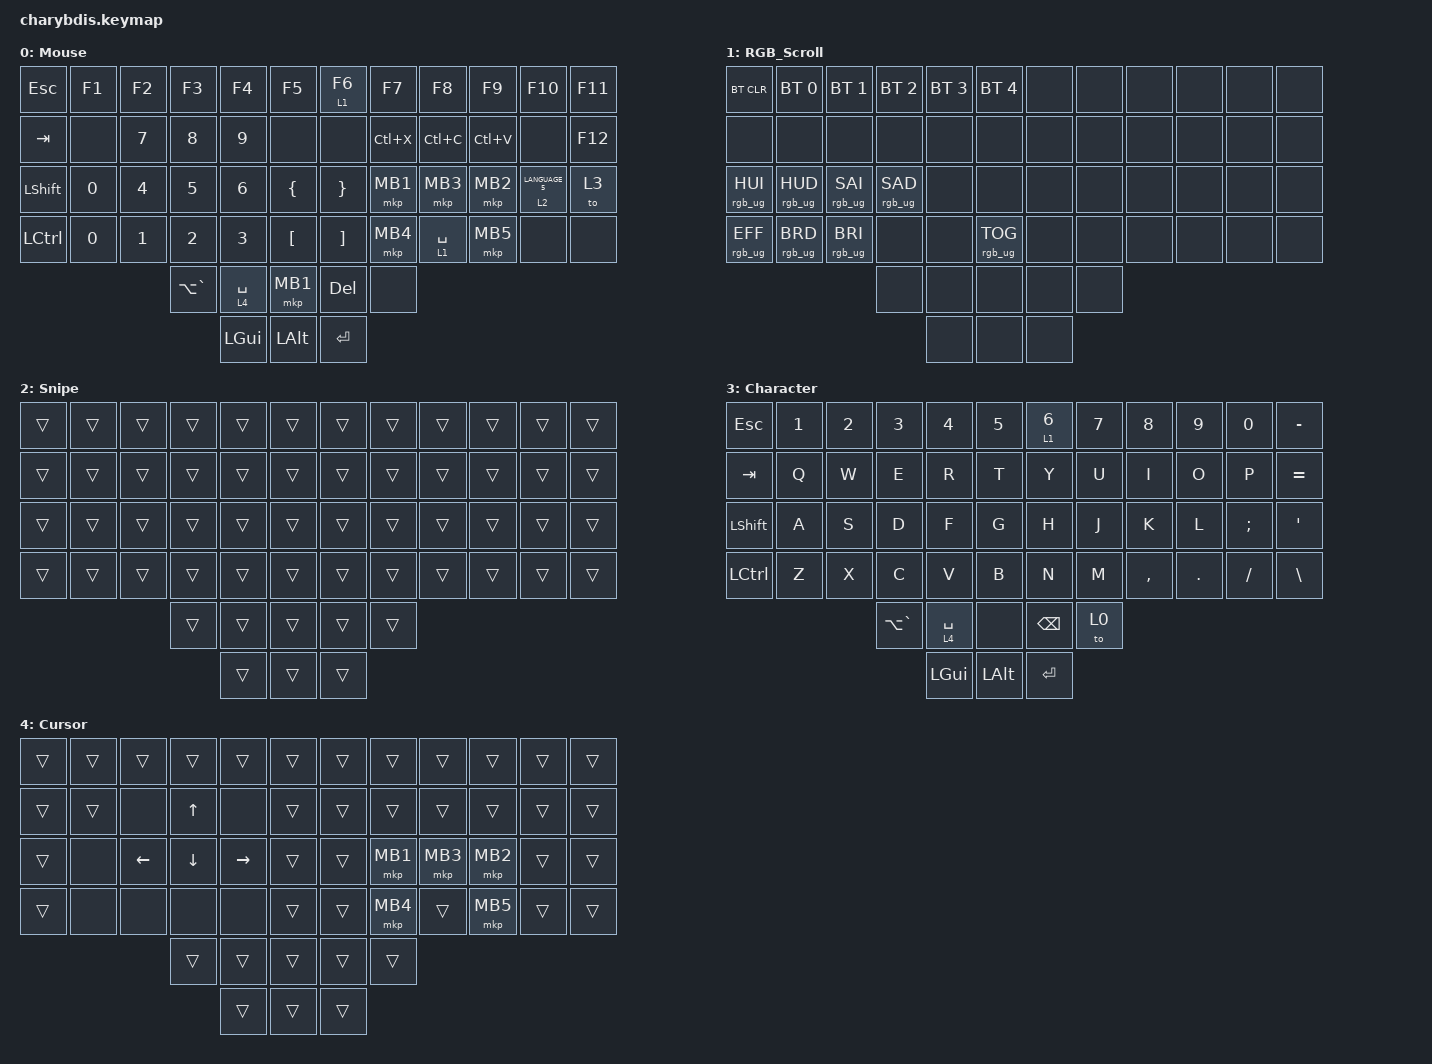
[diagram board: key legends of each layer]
#include <behaviors.dtsi>
#include <dt-bindings/zmk/bt.h>
#include <dt-bindings/zmk/keys.h>
#include <dt-bindings/zmk/pointing.h>
#include <dt-bindings/zmk/rgb.h>

&lt {
    tapping-term-ms = <200>;
    flavor = "balanced";
    quick-tap-ms = <150>;
};

/ {
    macros {
        To1_macro: To1_macro {
            compatible = "zmk,behavior-macro";
            label = "To1_macro";
            #binding-cells = <0>;
            bindings = <&rgb_ug RGB_EFF &rgb_ug RGB_COLOR_HSB(128,100,50) &to 0>;
        };

        To1_macro_A: To1_macro_A {
            compatible = "zmk,behavior-macro";
            label = "To1_macro_A";
            #binding-cells = <0>;
            bindings = <&rgb_ug RGB_COLOR_HSB(128,100,50) &to 0>;
        };

        To0_macro: To0_macro {
            compatible = "zmk,behavior-macro";
            label = "To0_macro";
            #binding-cells = <0>;
            bindings = <&rgb_ug RGB_EFR &to 0>;
        };

        To2_macro_A: To2_macro_A {
            compatible = "zmk,behavior-macro";
            label = "To2_macro_A";
            #binding-cells = <0>;
            bindings = <&rgb_ug RGB_COLOR_HSB(250,100,50) &to 1>;
        };

        To2_macro: To2_macro {
            compatible = "zmk,behavior-macro";
            label = "To2_macro";
            #binding-cells = <0>;
            bindings = <&rgb_ug RGB_EFF &rgb_ug RGB_COLOR_HSB(250,100,50) &to 1>;
        };
    };

    keymap {
        compatible = "zmk,keymap";

        Mouse {
            bindings = <
&kp ESC         &kp F1  &kp F2  &kp F3         &kp F4       &kp F5            &lt 1 F6         &kp F7     &kp F8       &kp F9     &kp F10           &kp F11
&kp TAB         &none   &kp N7  &kp N8         &kp N9       &none             &none            &kp LC(X)  &kp LC(C)    &kp LC(V)  &none             &kp F12
&kp LEFT_SHIFT  &kp N0  &kp N4  &kp N5         &kp N6       &kp LEFT_BRACE    &kp RIGHT_BRACE  &mkp MB1   &mkp MB3     &mkp MB2   &lt 2 LANGUAGE_5  &to 3
&kp LCTRL       &kp N0  &kp N1  &kp N2         &kp N3       &kp LBKT          &kp RBKT         &mkp MB4   &lt 1 SPACE  &mkp MB5   &none             &none
                                &kp LA(GRAVE)  &lt 4 SPACE  &mkp MB1          &kp DELETE       &none
                                               &kp LGUI     &kp LALT          &kp ENTER
            >;
        };

        RGB_Scroll {
            bindings = <
&bt BT_CLR       &bt BT_SEL 0     &bt BT_SEL 1     &bt BT_SEL 2     &bt BT_SEL 3  &bt BT_SEL 4       &none  &none  &none  &none  &none  &none
&none            &none            &none            &none            &none         &none              &none  &none  &none  &none  &none  &none
&rgb_ug RGB_HUI  &rgb_ug RGB_HUD  &rgb_ug RGB_SAI  &rgb_ug RGB_SAD  &none         &none              &none  &none  &none  &none  &none  &none
&rgb_ug RGB_EFF  &rgb_ug RGB_BRD  &rgb_ug RGB_BRI  &none            &none         &rgb_ug RGB_TOG    &none  &none  &none  &none  &none  &none
                                                   &none            &none         &none              &none  &none
                                                                    &none         &none              &none
            >;
        };

        Snipe {
            bindings = <
&trans  &trans  &trans  &trans  &trans  &trans    &trans  &trans  &trans  &trans  &trans  &trans
&trans  &trans  &trans  &trans  &trans  &trans    &trans  &trans  &trans  &trans  &trans  &trans
&trans  &trans  &trans  &trans  &trans  &trans    &trans  &trans  &trans  &trans  &trans  &trans
&trans  &trans  &trans  &trans  &trans  &trans    &trans  &trans  &trans  &trans  &trans  &trans
                        &trans  &trans  &trans    &trans  &trans
                                &trans  &trans    &trans
            >;
        };

        Character {
            bindings = <
&kp ESC         &kp N1  &kp N2  &kp N3         &kp N4       &kp N5      &lt 1 NUMBER_6  &kp N7  &kp N8     &kp N9   &kp N0    &kp MINUS
&kp TAB         &kp Q   &kp W   &kp E          &kp R        &kp T       &kp Y           &kp U   &kp I      &kp O    &kp P     &kp EQUAL
&kp LEFT_SHIFT  &kp A   &kp S   &kp D          &kp F        &kp G       &kp H           &kp J   &kp K      &kp L    &kp SEMI  &kp APOS
&kp LCTRL       &kp Z   &kp X   &kp C          &kp V        &kp B       &kp N           &kp M   &kp COMMA  &kp DOT  &kp FSLH  &kp BSLH
                                &kp LA(GRAVE)  &lt 4 SPACE  &none       &kp BACKSPACE   &to 0
                                               &kp LGUI     &kp LALT    &kp ENTER
            >;
        };

        Cursor {
            bindings = <
&trans  &trans  &trans    &trans        &trans     &trans    &trans  &trans    &trans    &trans    &trans  &trans
&trans  &trans  &none     &kp UP_ARROW  &none      &trans    &trans  &trans    &trans    &trans    &trans  &trans
&trans  &none   &kp LEFT  &kp DOWN      &kp RIGHT  &trans    &trans  &mkp MB1  &mkp MB3  &mkp MB2  &trans  &trans
&trans  &none   &none     &none         &none      &trans    &trans  &mkp MB4  &trans    &mkp MB5  &trans  &trans
                          &trans        &trans     &trans    &trans  &trans
                                        &trans     &trans    &trans
            >;
        };

        /* layer_3 {
            bindings = <
&none  &none   &none    &none   &none         &none         &kp N1         &none         &none     &none  &none   &to 0
&none  &none   &none    &none   &none         &none         &none         &none          &rgb_ug RGB_BRD &rgb_ug RGB_BRI  &rgb_ug RGB_EFF   &rgb_ug RGB_TOG
&none  &none   &none    &none   &none         &none         &none         &mkp LCLK     &mkp RCLK  &none  &none   &none
&none  &none   &none    &none   &bt BT_NXT  &bt BT_CLR    &none         &none         &none     &none  &none   &none
                                   &none         &none         &none         &none         &none
                                                 &none         &none         &none
            >;
       
            
        };

       Mouse {
            bindings = <
&none        &none         &none         &none         &none      &none         &none       &none      &none         &none         &none         &none
&none        &bt BT_SEL 0  &bt BT_SEL 1  &bt BT_SEL 3  &none      &bt BT_CLR    &bt BT_CLR  &none      &bt BT_SEL 2  &bt BT_SEL 1  &bt BT_SEL 0  &none
&none        &trans        &trans        &mkp MCLK     &trans     &none         &none       &trans     &mkp MCLK     &trans        &trans        &none
&bootloader  &trans        &mkp RCLK     &mo 4         &mkp LCLK  &mo 5         &mo 5       &mkp LCLK  &mo 4         &mkp RCLK     &trans        &bootloader
                                         &mo 5         &mkp LCLK  &mkp RCLK     &mkp RCLK   &mkp LCLK
                                                       &none      &trans        &trans
            >;

            
        };

        layer_4 {
            bindings = <
&trans  &trans  &trans     &trans     &trans     &trans       &trans     &trans     &trans     &trans     &trans  &trans
&trans  &trans  &trans     &trans     &trans     &trans       &trans     &trans     &trans     &trans     &trans  &trans
&trans  &trans  &trans     &mkp MCLK  &trans     &trans       &trans     &trans     &mkp MCLK  &trans     &trans  &trans
&trans  &trans  &mkp RCLK  &trans     &mkp LCLK  &trans       &trans     &mkp LCLK  &trans     &mkp RCLK  &trans  &trans
                           &trans     &mkp LCLK  &mkp RCLK    &mkp RCLK  &mkp LCLK
                                      &trans     &trans       &trans
            >;
                
                
               
        };

        layer_5 {
            bindings = <
&trans  &trans  &trans     &trans     &trans     &trans       &trans     &trans     &trans     &trans     &trans  &trans
&trans  &trans  &trans     &trans     &trans     &trans       &trans     &trans     &trans     &trans     &trans  &trans
&trans  &trans  &trans     &mkp MCLK  &trans     &trans       &trans     &trans     &mkp MCLK  &trans     &trans  &trans
&trans  &trans  &mkp RCLK  &trans     &mkp LCLK  &trans       &trans     &mkp LCLK  &trans     &mkp RCLK  &trans  &trans
                           &trans     &mkp LCLK  &mkp RCLK    &mkp RCLK  &mkp LCLK
                                      &trans     &trans       &trans
            >;
                
                
        };*/
    };
};
